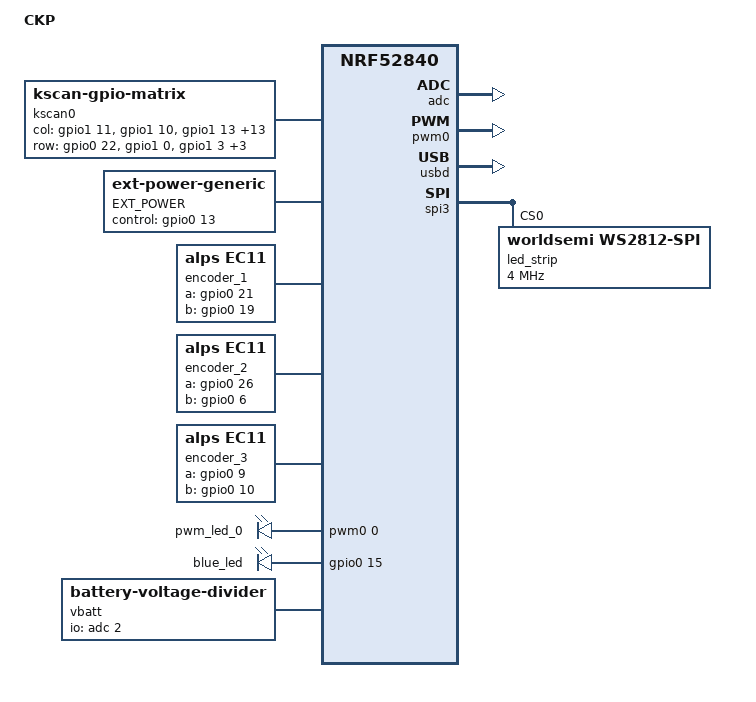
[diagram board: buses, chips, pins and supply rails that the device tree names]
/*
* Copyright (c) 2022 The ZMK Contributors
*
* SPDX-License-Identifier: MIT
*/

/dts-v1/;
#include <nordic/nrf52840_qiaa.dtsi>

#include <dt-bindings/led/led.h>
#include <dt-bindings/zmk/matrix_transform.h>

#include "ckp-pinctrl.dtsi"

/ {
    model = "CKP";
    compatible = "polarityworks,ckp";

    chosen {
        zephyr,code-partition = &code_partition;
        zephyr,sram = &sram0;
        zephyr,flash = &flash0;
        zmk,kscan = &kscan0;
        zmk,underglow = &led_strip;
        zmk,backlight = &backlight;
        zmk,battery = &vbatt;
    };

    sensors: sensors {
        compatible = "zmk,keymap-sensors";
        sensors = <&encoder_1>;
        triggers-per-rotation = <20>;
    };

    kscan0: kscan_0 {
        compatible = "zmk,kscan-gpio-matrix";
        diode-direction = "col2row";

        col-gpios
            = <&gpio1 11 GPIO_ACTIVE_HIGH>
            , <&gpio1 10 GPIO_ACTIVE_HIGH>
            , <&gpio1 13 GPIO_ACTIVE_HIGH>
            , <&gpio1 15 GPIO_ACTIVE_HIGH>
            , <&gpio0 3 GPIO_ACTIVE_HIGH>
            , <&gpio0 2 GPIO_ACTIVE_HIGH>
            , <&gpio0 28 GPIO_ACTIVE_HIGH>
            , <&gpio0 29 GPIO_ACTIVE_HIGH>
            , <&gpio0 30 GPIO_ACTIVE_HIGH>
            , <&gpio0 31 GPIO_ACTIVE_HIGH>
            , <&gpio0 5 GPIO_ACTIVE_HIGH>
            , <&gpio0 7 GPIO_ACTIVE_HIGH>
            , <&gpio1 9 GPIO_ACTIVE_HIGH>
            , <&gpio0 12 GPIO_ACTIVE_HIGH>
            , <&gpio0 23 GPIO_ACTIVE_HIGH>
            , <&gpio1 6 GPIO_ACTIVE_HIGH>
            ;

        row-gpios
            = <&gpio0 22 (GPIO_ACTIVE_HIGH | GPIO_PULL_DOWN)>
            , <&gpio1 0 (GPIO_ACTIVE_HIGH | GPIO_PULL_DOWN)>
            , <&gpio1 3 (GPIO_ACTIVE_HIGH | GPIO_PULL_DOWN)>
            , <&gpio1 1 (GPIO_ACTIVE_HIGH | GPIO_PULL_DOWN)>
            , <&gpio1 2 (GPIO_ACTIVE_HIGH | GPIO_PULL_DOWN)>
            , <&gpio1 4 (GPIO_ACTIVE_HIGH | GPIO_PULL_DOWN)>
            ;
    };

    // Node name must match original "EXT_POWER" label to preserve user settings.
    EXT_POWER {
        compatible = "zmk,ext-power-generic";
        control-gpios = <&gpio0 13 GPIO_ACTIVE_HIGH>;
    };

    encoder_1: encoder_1 {
        compatible = "alps,ec11";
        a-gpios = <&gpio0 21 (GPIO_ACTIVE_HIGH | GPIO_PULL_UP)>;
        b-gpios = <&gpio0 19 (GPIO_ACTIVE_HIGH | GPIO_PULL_UP)>;
        steps = <80>;
        status = "okay";
    };

    encoder_2: encoder_2 {
        compatible = "alps,ec11";
        a-gpios = <&gpio0 26 (GPIO_ACTIVE_HIGH | GPIO_PULL_UP)>;
        b-gpios = <&gpio0 6 (GPIO_ACTIVE_HIGH | GPIO_PULL_UP)>;
        steps = <80>;
        status = "okay";
    };

    encoder_3: encoder_3 {
        compatible = "alps,ec11";
        a-gpios = <&gpio0 9 (GPIO_ACTIVE_HIGH | GPIO_PULL_UP)>;
        b-gpios = <&gpio0 10 (GPIO_ACTIVE_HIGH | GPIO_PULL_UP)>;
        steps = <80>;
        status = "okay";
    };

    backlight: pwmleds {
        compatible = "pwm-leds";
        pwm_led_0 {
            pwms = <&pwm0 0 10000 PWM_POLARITY_NORMAL>;
        };
    };

    leds {
        compatible = "gpio-leds";
        blue_led: led_0 {
            gpios = <&gpio0 15 GPIO_ACTIVE_HIGH>;
        };
    };

    vbatt: vbatt {
        compatible = "zmk,battery-voltage-divider";
        io-channels = <&adc 2>;
        output-ohms = <100000>;
        full-ohms = <(100000 + 100000)>;
    };
};

&adc {
    status = "okay";
};

&pwm0 {
    status = "okay";
    pinctrl-0 = <&pwm0_default>;
    pinctrl-1 = <&pwm0_sleep>;
    pinctrl-names = "default", "sleep";
};

&gpiote {
    status = "okay";
};

&gpio0 {
    status = "okay";
};

&gpio1 {
    status = "okay";
};

&usbd {
    status = "okay";
};


&flash0 {
    /*
     * For more information, see:
     * http://docs.zephyrproject.org/latest/devices/dts/flash_partitions.html
     */
    partitions {
        compatible = "fixed-partitions";
        #address-cells = <1>;
        #size-cells = <1>;

        sd_partition: partition@0 {
            reg = <0x00000000 0x00026000>;
        };
        code_partition: partition@26000 {
            reg = <0x00026000 0x000c6000>;
        };

        /*
         * The flash starting at 0x000ec000 and ending at
         * 0x000f3fff is reserved for use by the application.
         */

        /*
         * Storage partition will be used by FCB/LittleFS/NVS
         * if enabled.
         */
        storage_partition: partition@ec000 {
            reg = <0x000ec000 0x00008000>;
        };

        boot_partition: partition@f4000 {
            reg = <0x000f4000 0x0000c000>;
        };
    };
};

&spi3 {
    compatible = "nordic,nrf-spim";
    status = "okay";
    pinctrl-0 = <&spi3_default>;
    pinctrl-1 = <&spi3_sleep>;
    pinctrl-names = "default", "sleep";

    led_strip: ws2812@0 {
        compatible = "worldsemi,ws2812-spi";

        /* SPI */
        reg = <0>;
        spi-max-frequency = <4000000>;

        /* WS2812 */
        chain-length = <12>; /* number of LEDs */
        spi-one-frame = <0x70>;
        spi-zero-frame = <0x40>;
        color-mapping = <LED_COLOR_ID_GREEN
                   LED_COLOR_ID_RED
                   LED_COLOR_ID_BLUE>;
    };
};
